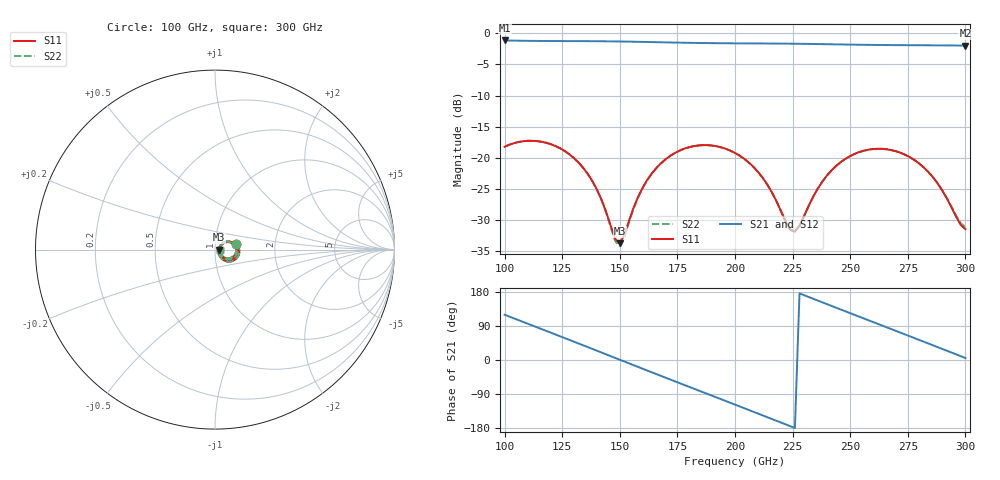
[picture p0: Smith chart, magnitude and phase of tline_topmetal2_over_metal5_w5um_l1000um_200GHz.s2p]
#  GHZ S DB R 50
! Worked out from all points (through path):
!   101 points, 100 GHz to 300 GHz, reference 50 ohm
!   highest |S21| = -1.14 dB at 100 GHz (marker M1); lowest = -2.0 dB at 300 GHz (marker M2)
!   group delay of S21, straight-line fit = 6.59 ps
!   lowest |S11| = -33.8 dB at 150 GHz (marker M3), VSWR 1.04, Z = 52.1 - j0.0869 ohm
!   |S11| at or under -10 dB: start of sweep to end of sweep
!   |S22| runs from -34.3 to -17.3 dB; largest |S21 - S12| = 1e-13
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100  -18.25 16.0  -1.14 119.4  -1.14 119.4  -18.24 15.6
108  -17.37 0.2  -1.19 100.6  -1.19 100.6  -17.36 -0.2
116  -17.44 -15.7  -1.22 81.7  -1.22 81.7  -17.44 -16.2
124  -18.48 -31.3  -1.24 62.8  -1.24 62.8  -18.48 -31.8
134  -21.59 -48.5  -1.25 39.0  -1.25 39.0  -21.60 -49.3
140  -25.09 -54.4  -1.26 24.7  -1.26 24.7  -25.12 -55.4
148  -33.07 -27.3  -1.30 5.5  -1.30 5.5  -33.41 -28.8
150  -33.82 -2.3  -1.31 0.7  -1.31 0.7  -34.25 -2.5
160  -24.78 39.9  -1.37 -23.2  -1.37 -23.2  -24.84 40.7
168  -20.85 30.4  -1.44 -42.3  -1.44 -42.3  -20.89 30.9
184  -18.04 1.4  -1.54 -80.0  -1.54 -80.0  -18.06 1.7
192  -18.17 -13.7  -1.58 -98.9  -1.58 -98.9  -18.18 -13.5
200  -19.24 -28.2  -1.60 -117.7  -1.60 -117.7  -19.26 -27.9
212  -23.23 -44.8  -1.63 -146.1  -1.63 -146.1  -23.25 -44.6
224  -31.60 -17.6  -1.66 -174.7  -1.66 -174.7  -31.62 -17.2
228  -30.95 16.5  -1.68 175.8  -1.68 175.8  -30.96 16.9
234  -26.25 35.6  -1.71 161.5  -1.71 161.5  -26.25 35.9
242  -22.01 31.5  -1.76 142.5  -1.76 142.5  -22.01 31.8
252  -19.38 16.0  -1.82 118.8  -1.82 118.8  -19.39 16.3
268  -18.79 -13.0  -1.89 81.2  -1.89 81.2  -18.80 -12.6
284  -22.34 -38.2  -1.92 43.3  -1.92 43.3  -22.34 -37.4
300  -31.50 -5.0  -1.97 5.3  -1.97 5.3  -31.18 -4.4
